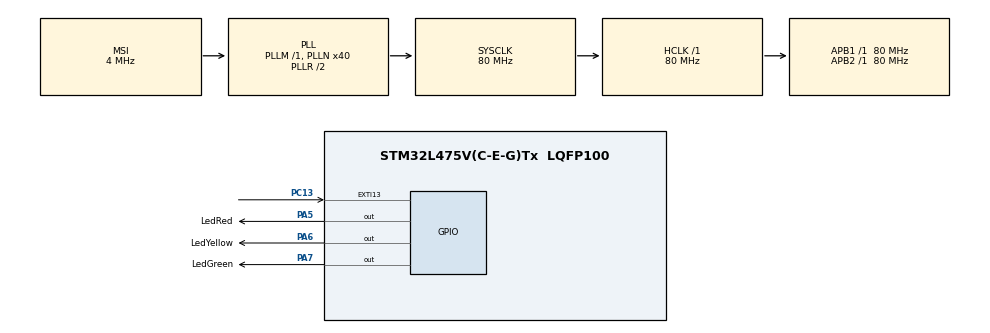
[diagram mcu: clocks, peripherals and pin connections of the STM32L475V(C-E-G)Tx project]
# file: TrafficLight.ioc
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Mcu.Family=STM32L4
Mcu.Name=STM32L475V(C-E-G)Tx
Mcu.Package=LQFP100
NVIC.PriorityGroup=NVIC_PRIORITYGROUP_4
PA13\ (JTMS-SWDIO).Mode=Serial_Wire
PA13\ (JTMS-SWDIO).Signal=SYS_JTMS-SWDIO
PA14\ (JTCK-SWCLK).Mode=Serial_Wire
PA14\ (JTCK-SWCLK).Signal=SYS_JTCK-SWCLK
PA5.GPIO_Label=LedRed
PA5.GPIO_PuPd=GPIO_PULLDOWN
PA5.Signal=GPIO_Output
PA6.GPIO_Label=LedYellow
PA6.GPIO_PuPd=GPIO_PULLDOWN
PA6.Signal=GPIO_Output
PA7.GPIO_Label=LedGreen
PA7.GPIO_PuPd=GPIO_PULLDOWN
PA7.Signal=GPIO_Output
PC13.Signal=GPXTI13
PC14-OSC32_IN\ (PC14).Mode=LSE-External-Oscillator
PC14-OSC32_IN\ (PC14).Signal=RCC_OSC32_IN
PC15-OSC32_OUT\ (PC15).Mode=LSE-External-Oscillator
PC15-OSC32_OUT\ (PC15).Signal=RCC_OSC32_OUT
ProjectManager.HeapSize=0x200
ProjectManager.StackSize=0x400
ProjectManager.TargetToolchain=STM32CubeIDE
RCC.ADCFreq_Value=48000000
RCC.AHBFreq_Value=80000000
RCC.APB1Freq_Value=80000000
RCC.APB1TimFreq_Value=80000000
RCC.APB2Freq_Value=80000000
RCC.APB2TimFreq_Value=80000000
RCC.CortexFreq_Value=80000000
RCC.HCLKFreq_Value=80000000
RCC.HSE_VALUE=8000000
RCC.HSI_VALUE=16000000
RCC.MSI_VALUE=4000000
RCC.PLLN=40
RCC.PLLSAI1N=24
RCC.SYSCLKFreq_VALUE=80000000
RCC.SYSCLKSource=RCC_SYSCLKSOURCE_PLLCLK
RCC.USBFreq_Value=48000000
RCC.VCOOutputFreq_Value=160000000
board=B-L475E-IOT01A2

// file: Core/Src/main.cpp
/* USER CODE BEGIN Header */
/**
  ******************************************************************************
  * @file           : main.cpp
  * @brief          : Main program body
  ******************************************************************************
  * @attention
  *
  * <h2><center>&copy; Copyright (c) 2021 STMicroelectronics.
  * All rights reserved.</center></h2>
  *
  * This software component is licensed by ST under BSD 3-Clause license,
  * the "License"; You may not use this file except in compliance with the
  * License. You may obtain a copy of the License at:
  *                        opensource.org/licenses/BSD-3-Clause
  *
  ******************************************************************************
  */

/**
  ******************************************************************************
  * @TODO:
  *
  * Fix the problem that once passed to the NIGHT phase you can not
  * return to the DAY phase without using a breakpoint.
  *
  ******************************************************************************
  */

/* USER CODE END Header */
#include "main.h"

/* USER CODE BEGIN Includes */
	#include "Timer.hpp"
	#include "LightController.hpp"
    #include "PhaseController.hpp"
	#include "Controller.hpp"
	#include "ItalianTrafficLight.hpp"
	#include "BlinkingTrafficLight.hpp"
/* USER CODE END Includes */

void SystemClock_Config(void);
static void MX_GPIO_Init(void);

int main(void)
{

  /* MCU Configuration--------------------------------------------------------*/

  /* Reset of all peripherals, Initializes the Flash interface and the Systick. */
  HAL_Init();

  /* USER CODE BEGIN Init */

  	// 'phase' simulates the DAY/NIGHT cycle
	bool phase = NIGHT;
	// Init the system
	Timer timer;
	LightController lightController;
	PhaseController phaseController(&phase);
	ItalianTrafficLight italianTrafficLight(&lightController, &timer);
	italianTrafficLight.setStatus(RED);
	BlinkingTrafficLight blinkingTrafficLight(&lightController, &timer);
	blinkingTrafficLight.setStatus(OFF);
	Controller controller(&italianTrafficLight, &blinkingTrafficLight);

   /* USER CODE END Init */

  /* Configure the system clock */
  SystemClock_Config();

  /* USER CODE BEGIN SysInit */

  HAL_GPIO_WritePin(GPIOA, LedRed_Pin|LedYellow_Pin|LedGreen_Pin, GPIO_PIN_RESET);

  /* USER CODE END SysInit */

  /* Initialize all configured peripherals */
  MX_GPIO_Init();

  /* Infinite loop */
  while (1)
   {

	  phaseController.checkButton();
	  controller.start(phase);

   }
}

void SystemClock_Config(void)
{
  RCC_OscInitTypeDef RCC_OscInitStruct = {0};
  RCC_ClkInitTypeDef RCC_ClkInitStruct = {0};

  /** Configure the main internal regulator output voltage
  */
  if (HAL_PWREx_ControlVoltageScaling(PWR_REGULATOR_VOLTAGE_SCALE1) != HAL_OK)
  {
    Error_Handler();
  }
  /** Configure LSE Drive Capability
  */
  HAL_PWR_EnableBkUpAccess();
  __HAL_RCC_LSEDRIVE_CONFIG(RCC_LSEDRIVE_LOW);
  /** Initializes the RCC Oscillators according to the specified parameters
  * in the RCC_OscInitTypeDef structure.
  */
  RCC_OscInitStruct.OscillatorType = RCC_OSCILLATORTYPE_LSE|RCC_OSCILLATORTYPE_MSI;
  RCC_OscInitStruct.LSEState = RCC_LSE_ON;
  RCC_OscInitStruct.MSIState = RCC_MSI_ON;
  RCC_OscInitStruct.MSICalibrationValue = 0;
  RCC_OscInitStruct.MSIClockRange = RCC_MSIRANGE_6;
  RCC_OscInitStruct.PLL.PLLState = RCC_PLL_ON;
  RCC_OscInitStruct.PLL.PLLSource = RCC_PLLSOURCE_MSI;
  RCC_OscInitStruct.PLL.PLLM = 1;
  RCC_OscInitStruct.PLL.PLLN = 40;
  RCC_OscInitStruct.PLL.PLLP = RCC_PLLP_DIV7;
  RCC_OscInitStruct.PLL.PLLQ = RCC_PLLQ_DIV2;
  RCC_OscInitStruct.PLL.PLLR = RCC_PLLR_DIV2;
  if (HAL_RCC_OscConfig(&RCC_OscInitStruct) != HAL_OK)
  {
    Error_Handler();
  }
  /** Initializes the CPU, AHB and APB buses clocks
  */
  RCC_ClkInitStruct.ClockType = RCC_CLOCKTYPE_HCLK|RCC_CLOCKTYPE_SYSCLK
                              |RCC_CLOCKTYPE_PCLK1|RCC_CLOCKTYPE_PCLK2;
  RCC_ClkInitStruct.SYSCLKSource = RCC_SYSCLKSOURCE_PLLCLK;
  RCC_ClkInitStruct.AHBCLKDivider = RCC_SYSCLK_DIV1;
  RCC_ClkInitStruct.APB1CLKDivider = RCC_HCLK_DIV1;
  RCC_ClkInitStruct.APB2CLKDivider = RCC_HCLK_DIV1;

  if (HAL_RCC_ClockConfig(&RCC_ClkInitStruct, FLASH_LATENCY_4) != HAL_OK)
  {
    Error_Handler();
  }
  /** Enable MSI Auto calibration
  */
  HAL_RCCEx_EnableMSIPLLMode();
}

static void MX_GPIO_Init(void)
{
  GPIO_InitTypeDef GPIO_InitStruct = {0};

  /* GPIO Ports Clock Enable */
  __HAL_RCC_GPIOC_CLK_ENABLE();
  __HAL_RCC_GPIOA_CLK_ENABLE();

  /*Configure GPIO pin Output Level */
  HAL_GPIO_WritePin(GPIOA, LedRed_Pin|LedYellow_Pin|LedGreen_Pin, GPIO_PIN_RESET);

  /*Configure GPIO pin : PC13 */
  GPIO_InitStruct.Pin = GPIO_PIN_13;
  GPIO_InitStruct.Mode = GPIO_MODE_IT_RISING;
  GPIO_InitStruct.Pull = GPIO_NOPULL;
  HAL_GPIO_Init(GPIOC, &GPIO_InitStruct);

  /*Configure GPIO pins : LedRed_Pin LedYellow_Pin LedGreen_Pin */
  GPIO_InitStruct.Pin = LedRed_Pin|LedYellow_Pin|LedGreen_Pin;
  GPIO_InitStruct.Mode = GPIO_MODE_OUTPUT_PP;
  GPIO_InitStruct.Pull = GPIO_PULLDOWN;
  GPIO_InitStruct.Speed = GPIO_SPEED_FREQ_LOW;
  HAL_GPIO_Init(GPIOA, &GPIO_InitStruct);

}

void Error_Handler(void)
{
  __disable_irq();
  while (1)
  {
  }
}

/************************ (C) COPYRIGHT STMicroelectronics *****END OF FILE****/
